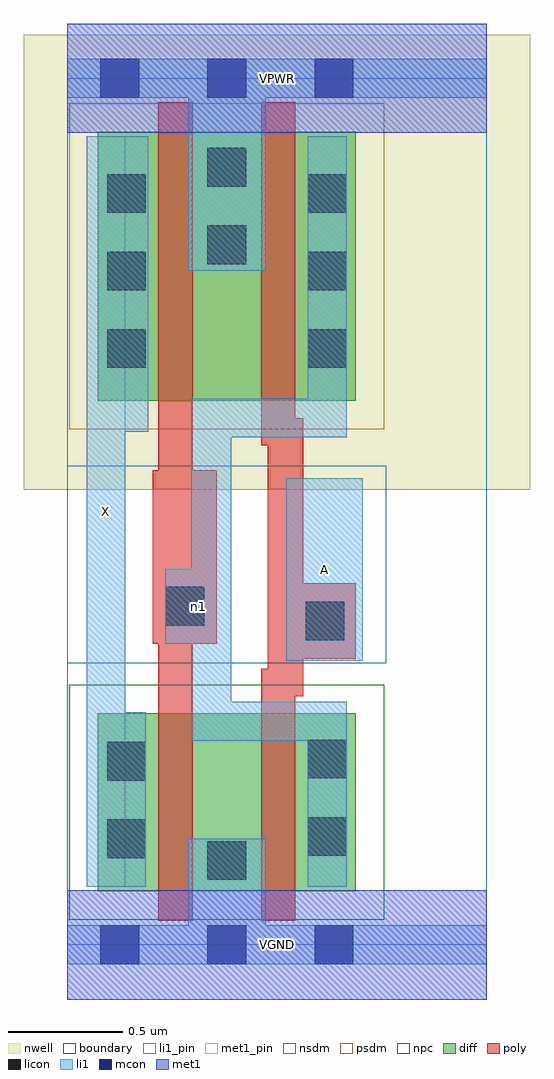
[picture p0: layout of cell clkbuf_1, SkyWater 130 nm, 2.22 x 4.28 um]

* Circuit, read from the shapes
.subckt clkbuf_1 A VGND VPWR X n1
XM1 VGND n1 X VSUBS sky130_fd_pr__nfet_01v8 w=0.78 l=0.15
XM2 n1 A VGND VSUBS sky130_fd_pr__nfet_01v8 w=0.78 l=0.15
XM3 VPWR n1 X n2 sky130_fd_pr__pfet_01v8 w=1.18 l=0.15
XM4 n1 A VPWR n2 sky130_fd_pr__pfet_01v8 w=1.18 l=0.15
.ends

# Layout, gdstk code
import gdstk
lib = gdstk.Library(unit=1e-6, precision=1e-09)
def R(c, l, rs):  # rectangles x0, y0, x1, y1
    for r in rs: c.add(gdstk.rectangle(r[:2], r[2:], *l))
def A(c, l, x, y, w, h, nx, ny, dx, dy):  # array of equal rectangles
    R(c, l, [(x+i*dx, y+j*dy, x+i*dx+w, y+j*dy+h) for i in range(nx) for j in range(ny)])
nwell = (64, 20)
diff = (65, 20)
poly = (66, 20)
licon = (66, 44)
li1_pin = (67, 16)
li1 = (67, 20)
mcon = (67, 44)
met1_pin = (68, 16)
met1 = (68, 20)
nsdm = (93, 44)
psdm = (94, 20)
npc = (95, 20)
boundary = (235, 4)

clkbuf_1 = lib.new_cell('clkbuf_1')
R(clkbuf_1, nwell, [(-0.19,1.995,2.03,3.99), (0,1.995,1.84,3.99)])
R(clkbuf_1, diff, [(0.135,0.235,1.265,1.015), (0.135,2.385,1.265,3.565)])
R(clkbuf_1, poly, [(0.4,0.105,0.55,3.695), (0.85,0.105,1,1.21), (0.88,1.09,1.035,2.31), (0.88,1.255,1.265,1.585), (0.375,1.32,0.655,2.08), (0.85,2.19,1,3.695)])
A(clkbuf_1, licon, 0.175, 2.53, 0.17, 0.17, 1, 3, 0, 0.34)
A(clkbuf_1, licon, 1.055, 2.53, 0.17, 0.17, 1, 3, 0, 0.34)
R(clkbuf_1, licon, [(0.615,0.285,0.785,0.455), (0.175,0.38,0.345,0.55), (1.055,0.39,1.225,0.56), (0.175,0.72,0.345,0.89), (1.055,0.73,1.225,0.9), (1.045,1.335,1.215,1.505), (0.43,1.4,0.6,1.57), (0.615,2.985,0.785,3.155), (0.615,3.325,0.785,3.495)])
R(clkbuf_1, li1_pin, [(0.085,0.255,0.255,3.545), (0.96,1.245,1.295,2.045)])
R(clkbuf_1, li1, [(0,-0.085,1.84,0.085), (0.53,-0.085,0.87,0.465), (0.085,0.255,0.255,3.545), (0.085,0.255,0.345,1.02), (1.055,0.255,1.225,1.065), (0.545,0.895,0.72,2.395), (0.545,0.895,1.225,1.065), (0.96,1.245,1.295,2.045), (0.43,1.32,0.72,1.65), (0.545,2.225,1.225,2.395), (1.055,2.225,1.225,3.545), (0.085,2.25,0.355,3.545), (0.53,2.955,0.87,3.885), (0,3.715,1.84,3.885)])
A(clkbuf_1, mcon, 0.145, -0.085, 0.17, 0.17, 3, 2, 0.47, 3.8)
R(clkbuf_1, met1_pin, [(0,-0.24,1.84,0.24), (0,3.56,1.84,4.04)])
R(clkbuf_1, met1, [(0,-0.24,1.84,0.24), (0,3.56,1.84,4.04)])
R(clkbuf_1, nsdm, [(0.01,0.11,1.39,1.14)])
R(clkbuf_1, psdm, [(0.01,2.26,1.39,3.69)])
R(clkbuf_1, npc, [(0,1.235,1.4,2.1)])
R(clkbuf_1, boundary, [(0,0,1.84,3.8)])
clkbuf_1.add(gdstk.Label('A', (1.127,1.645), layer=67, texttype=5))
clkbuf_1.add(gdstk.Label('X', (0.17,1.9), layer=67, texttype=5))
clkbuf_1.add(gdstk.Label('n1', (0.575,1.485), layer=67, texttype=5))
clkbuf_1.add(gdstk.Label('VPWR', (0.92,3.8), layer=68, texttype=5))
clkbuf_1.add(gdstk.Label('VGND', (0.92,0), layer=68, texttype=5))
clkbuf_1.add(gdstk.Label('A', (1.127,1.645), layer=67, texttype=16))
clkbuf_1.add(gdstk.Label('X', (0.17,1.9), layer=67, texttype=16))
clkbuf_1.add(gdstk.Label('VPWR', (0.92,3.8), layer=68, texttype=16))
clkbuf_1.add(gdstk.Label('VGND', (0.92,0), layer=68, texttype=16))

lib.write_gds('clkbuf_1.gds')
